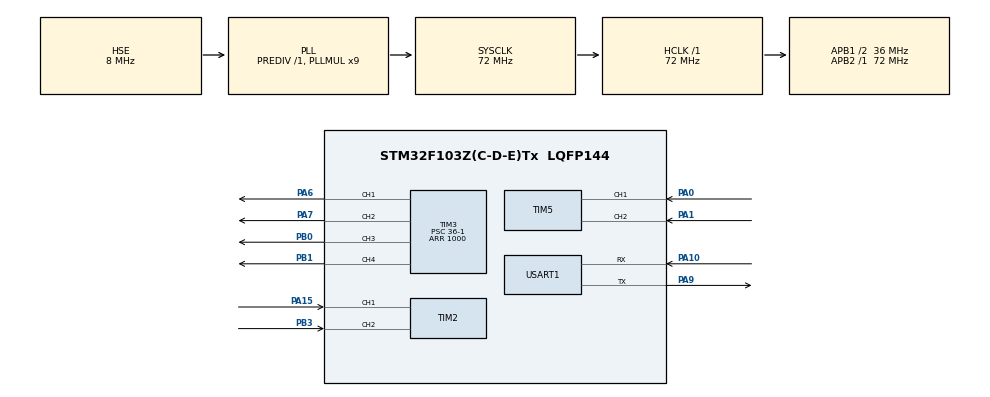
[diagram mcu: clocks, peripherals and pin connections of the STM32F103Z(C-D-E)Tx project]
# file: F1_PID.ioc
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Mcu.Family=STM32F1
Mcu.Name=STM32F103Z(C-D-E)Tx
Mcu.Package=LQFP144
NVIC.PriorityGroup=NVIC_PRIORITYGROUP_4
NVIC.TIM4_IRQn=true\:0\:0\:false\:false\:true\:true\:true\:true
OSC_IN.Mode=HSE-External-Oscillator
OSC_IN.Signal=RCC_OSC_IN
OSC_OUT.Mode=HSE-External-Oscillator
OSC_OUT.Signal=RCC_OSC_OUT
PA0-WKUP.Signal=S_TIM5_CH1
PA1.Signal=S_TIM5_CH2
PA10.Mode=Asynchronous
PA10.Signal=USART1_RX
PA13.Mode=Serial_Wire
PA13.Signal=SYS_JTMS-SWDIO
PA14.Mode=Serial_Wire
PA14.Signal=SYS_JTCK-SWCLK
PA15.Signal=S_TIM2_CH1_ETR
PA6.Signal=S_TIM3_CH1
PA7.Signal=S_TIM3_CH2
PA9.Mode=Asynchronous
PA9.Signal=USART1_TX
PB0.Signal=S_TIM3_CH3
PB1.Signal=S_TIM3_CH4
PB3.Signal=S_TIM2_CH2
ProjectManager.HeapSize=0x200
ProjectManager.StackSize=0x400
ProjectManager.TargetToolchain=MDK-ARM V5.32
RCC.AHBFreq_Value=72000000
RCC.APB1CLKDivider=RCC_HCLK_DIV2
RCC.APB1Freq_Value=36000000
RCC.APB1TimFreq_Value=72000000
RCC.APB2Freq_Value=72000000
RCC.APB2TimFreq_Value=72000000
RCC.HCLKFreq_Value=72000000
RCC.PLLMUL=RCC_PLL_MUL9
RCC.PLLSourceVirtual=RCC_PLLSOURCE_HSE
RCC.SYSCLKFreq_VALUE=72000000
RCC.SYSCLKSource=RCC_SYSCLKSOURCE_PLLCLK
RCC.USBFreq_Value=72000000
SH.S_TIM2_CH1_ETR.0=TIM2_CH1,Encoder_Interface
SH.S_TIM2_CH2.0=TIM2_CH2,Encoder_Interface
SH.S_TIM3_CH1.0=TIM3_CH1,PWM Generation1 CH1
SH.S_TIM3_CH2.0=TIM3_CH2,PWM Generation2 CH2
SH.S_TIM3_CH3.0=TIM3_CH3,PWM Generation3 CH3
SH.S_TIM3_CH4.0=TIM3_CH4,PWM Generation4 CH4
SH.S_TIM5_CH1.0=TIM5_CH1,Encoder_Interface
SH.S_TIM5_CH2.0=TIM5_CH2,Encoder_Interface
TIM2.EncoderMode=TIM_ENCODERMODE_TI12
TIM3.AutoReloadPreload=TIM_AUTORELOAD_PRELOAD_DISABLE
TIM3.Channel-PWM\ Generation1\ CH1=TIM_CHANNEL_1
TIM3.Channel-PWM\ Generation2\ CH2=TIM_CHANNEL_2
TIM3.Channel-PWM\ Generation3\ CH3=TIM_CHANNEL_3
TIM3.Channel-PWM\ Generation4\ CH4=TIM_CHANNEL_4
TIM3.Period=1000
TIM3.Prescaler=36-1
TIM4.AutoReloadPreload=TIM_AUTORELOAD_PRELOAD_DISABLE
TIM4.Period=1000
TIM4.Prescaler=72-1
TIM5.EncoderMode=TIM_ENCODERMODE_TI12
USART1.VirtualMode=VM_ASYNC
VP_TIM3_VS_ClockSourceINT.Mode=Internal
VP_TIM4_VS_ClockSourceINT.Mode=Internal
board=custom

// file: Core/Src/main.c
/* USER CODE BEGIN Header */
/**
 ******************************************************************************
 * @file           : main.c
 * @brief          : Main program body
 ******************************************************************************
 * @attention
 *
 * Copyright (c) 2024 STMicroelectronics.
 * All rights reserved.
 *
 * This software is licensed under terms that can be found in the LICENSE file
 * in the root directory of this software component.
 * If no LICENSE file comes with this software, it is provided AS-IS.
 *
 ******************************************************************************
 */
/* USER CODE END Header */
#include "main.h"
#include "tim.h"
#include "usart.h"
#include "gpio.h"

/* USER CODE BEGIN Includes */
#include "control.h"
#include "pid.h"
#include "string.h"
#include "stdio.h"

/* USER CODE END Includes */

void SystemClock_Config(void);

/* USER CODE BEGIN 0 */
/**
 * 函数功能: 重定向c库函数printf到DEBUG_USARTx
 * 输入参数: 无
 * 返 回 值: 无
 * 说    明：无
 */
int fputc(int ch, FILE *f)
{
  HAL_UART_Transmit(&huart1, (uint8_t *)&ch, 1, 0xffff);
  return ch;
}

/**
 * 函数功能: 重定向c库函数getchar,scanf到DEBUG_USARTx
 * 输入参数: 无
 * 返 回 值: 无
 * 说    明：无
 */
int fgetc(FILE *f)
{
  uint8_t ch = 0;
  HAL_UART_Receive(&huart1, &ch, 1, 0xffff);
  return ch;
}

/* USER CODE END 0 */

int main(void)
{

  /* MCU Configuration--------------------------------------------------------*/

  /* Reset of all peripherals, Initializes the Flash interface and the Systick. */
  HAL_Init();

  /* Configure the system clock */
  SystemClock_Config();

  /* Initialize all configured peripherals */
  MX_GPIO_Init();
  MX_TIM2_Init();
  MX_TIM3_Init();
  MX_TIM4_Init();
  MX_USART1_UART_Init();
  MX_TIM5_Init();
  /* USER CODE BEGIN 2 */
  Motor_Init();
  float p[4] = {1, 2, 3, 4};
  float i[4] = {5, 6, 7, 8};
  float d[4] = {9, 10, 11, 12};
  PID_init(p, i, d);
  set_p_i_d(4, p, i, d);

  /* USER CODE END 2 */

  /* Infinite loop */
  while (1)
  {

    /* USER CODE BEGIN 3 */
    int i;
    i=__HAL_TIM_GET_COUNTER(&htim2);
    printf("i: %d\r\n", i);
    __HAL_TIM_SET_COUNTER(&htim2, 0);
    HAL_Delay(1000);
    }
  /* USER CODE END 3 */
}

void SystemClock_Config(void)
{
  RCC_OscInitTypeDef RCC_OscInitStruct = {0};
  RCC_ClkInitTypeDef RCC_ClkInitStruct = {0};

  /** Initializes the RCC Oscillators according to the specified parameters
   * in the RCC_OscInitTypeDef structure.
   */
  RCC_OscInitStruct.OscillatorType = RCC_OSCILLATORTYPE_HSE;
  RCC_OscInitStruct.HSEState = RCC_HSE_ON;
  RCC_OscInitStruct.HSEPredivValue = RCC_HSE_PREDIV_DIV1;
  RCC_OscInitStruct.HSIState = RCC_HSI_ON;
  RCC_OscInitStruct.PLL.PLLState = RCC_PLL_ON;
  RCC_OscInitStruct.PLL.PLLSource = RCC_PLLSOURCE_HSE;
  RCC_OscInitStruct.PLL.PLLMUL = RCC_PLL_MUL9;
  if (HAL_RCC_OscConfig(&RCC_OscInitStruct) != HAL_OK)
  {
    Error_Handler();
  }

  /** Initializes the CPU, AHB and APB buses clocks
   */
  RCC_ClkInitStruct.ClockType = RCC_CLOCKTYPE_HCLK | RCC_CLOCKTYPE_SYSCLK | RCC_CLOCKTYPE_PCLK1 | RCC_CLOCKTYPE_PCLK2;
  RCC_ClkInitStruct.SYSCLKSource = RCC_SYSCLKSOURCE_PLLCLK;
  RCC_ClkInitStruct.AHBCLKDivider = RCC_SYSCLK_DIV1;
  RCC_ClkInitStruct.APB1CLKDivider = RCC_HCLK_DIV2;
  RCC_ClkInitStruct.APB2CLKDivider = RCC_HCLK_DIV1;

  if (HAL_RCC_ClockConfig(&RCC_ClkInitStruct, FLASH_LATENCY_2) != HAL_OK)
  {
    Error_Handler();
  }
}

void Error_Handler(void)
{
  __disable_irq();
  while (1)
  {
  }
}
